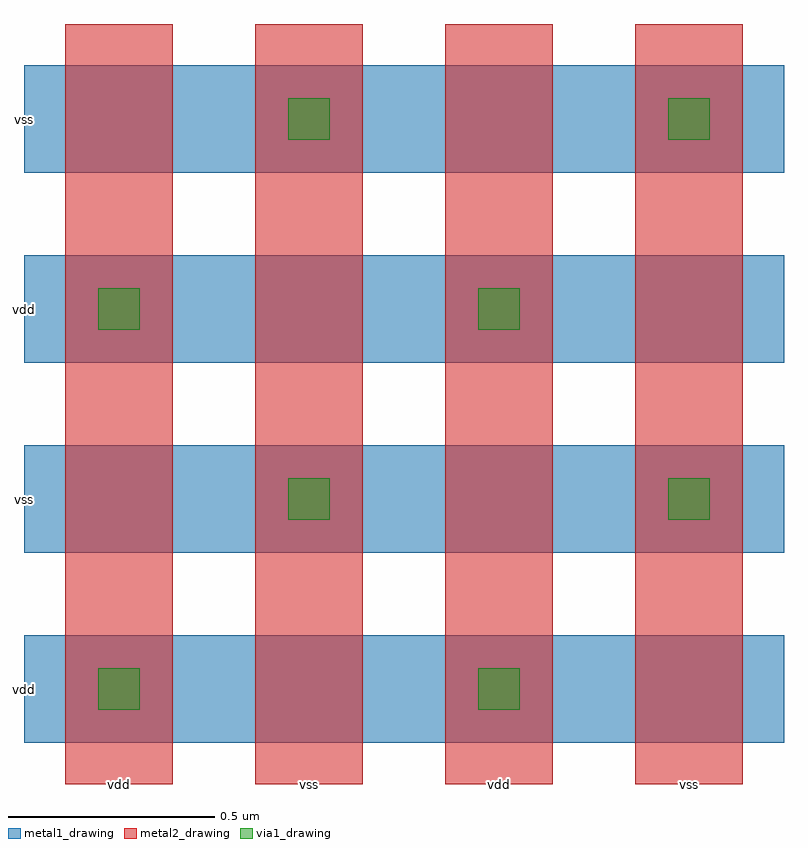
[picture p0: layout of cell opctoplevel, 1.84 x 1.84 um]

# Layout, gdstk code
import gdstk
lib = gdstk.Library(unit=1e-6, precision=1e-09)
def R(c, l, rs):  # rectangles x0, y0, x1, y1
    for r in rs: c.add(gdstk.rectangle(r[:2], r[2:], *l))
def A(c, l, x, y, w, h, nx, ny, dx, dy):  # array of equal rectangles
    R(c, l, [(x+i*dx, y+j*dy, x+i*dx+w, y+j*dy+h) for i in range(nx) for j in range(ny)])
metal1_drawing = (8, 0)
via1_drawing = (9, 0)
metal2_drawing = (10, 0)

opctoplevel = lib.new_cell('opctoplevel')
A(opctoplevel, metal1_drawing, -0.92, -0.82, 1.84, 0.26, 1, 4, 0, 0.46)
R(opctoplevel, via1_drawing, [(-0.74,-0.74,-0.64,-0.64), (0.18,-0.74,0.28,-0.64), (-0.28,-0.28,-0.18,-0.18), (0.64,-0.28,0.74,-0.18), (-0.74,0.18,-0.64,0.28), (0.18,0.18,0.28,0.28), (-0.28,0.64,-0.18,0.74), (0.64,0.64,0.74,0.74)])
A(opctoplevel, metal2_drawing, -0.82, -0.92, 0.26, 1.84, 4, 1, 0.46, 0)
opctoplevel.add(gdstk.Label('vdd', (-0.92,-0.69), layer=8, texttype=0))
opctoplevel.add(gdstk.Label('vss', (-0.92,-0.23), layer=8, texttype=0))
opctoplevel.add(gdstk.Label('vdd', (-0.92,0.23), layer=8, texttype=0))
opctoplevel.add(gdstk.Label('vss', (-0.92,0.69), layer=8, texttype=0))
opctoplevel.add(gdstk.Label('vdd', (-0.69,-0.92), layer=10, texttype=0))
opctoplevel.add(gdstk.Label('vss', (-0.23,-0.92), layer=10, texttype=0))
opctoplevel.add(gdstk.Label('vdd', (0.23,-0.92), layer=10, texttype=0))
opctoplevel.add(gdstk.Label('vss', (0.69,-0.92), layer=10, texttype=0))

lib.write_gds('opctoplevel.gds')
